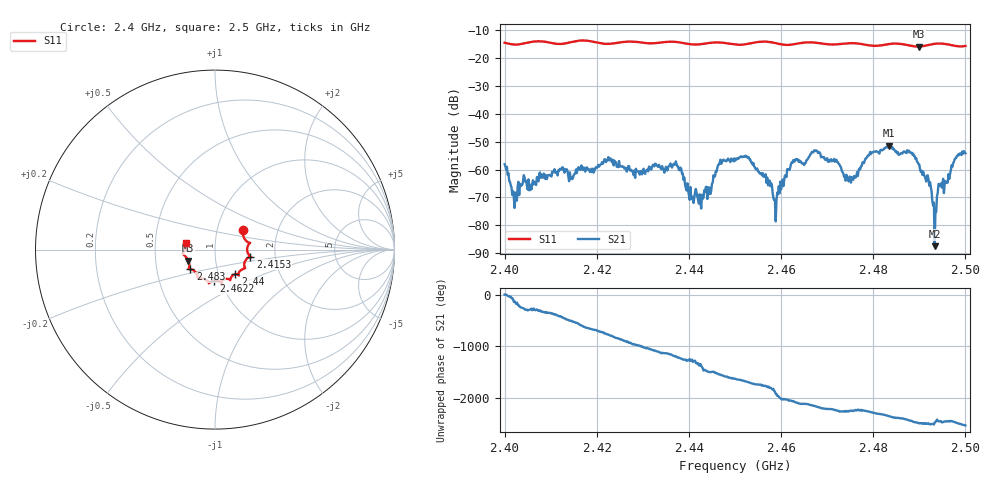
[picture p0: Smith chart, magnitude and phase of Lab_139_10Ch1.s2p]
# Hz S RI R 50
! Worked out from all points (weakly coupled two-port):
!   601 points, 2.4 GHz to 2.5 GHz, reference 50 ohm
!   highest |S21| = -51.44 dB at 2.4833 GHz (marker M1); lowest = -87.5 dB at 2.4933 GHz (marker M2)
!   lowest |S11| = -15.9 dB at 2.4898 GHz (marker M3), VSWR 1.38, Z = 36.8 - j4.62 ohm
!   |S11| at or under -10 dB: start of sweep to end of sweep
!   S12 and S22 are empty: the file has one direction only
!   S11 on the Smith chart (normalised r, x): 2.4 GHz: 1.33, +0.29; 2.4153 GHz: 1.48, -0.12; 2.44 GHz: 1.20, -0.34; 2.4622 GHz: 0.93, -0.33; 2.483 GHz: 0.74, -0.17; 2.5 GHz: 0.72, +0.06
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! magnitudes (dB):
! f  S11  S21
! 2.4 GHz  -14.5  -58.1
! 2.4022 GHz  -15.2  -73.8
! 2.4042 GHz  -14.8  -62.0
! 2.4153 GHz  -14.0  -61.4
! 2.4167 GHz  -13.7  -58.5
! 2.4333 GHz  -14.5  -59.1
! 2.4372 GHz  -14.2  -57.1
! 2.44 GHz  -15.0  -69.1
! 2.4427 GHz  -15.0  -74.0
! 2.4468 GHz  -14.4  -56.5
! 2.45 GHz  -15.1  -56.0
! 2.4528 GHz  -14.9  -55.8
! 2.4588 GHz  -14.7  -78.6
! 2.4622 GHz  -15.2  -57.9
! 2.4667 GHz  -14.4  -53.7
! 2.4752 GHz  -14.7  -64.7
! 2.483 GHz  -15.1  -51.7
! 2.4833 GHz  -15.0  -51.4
! 2.4898 GHz  -15.9  -58.1
! 2.4933 GHz  -14.9  -87.5
! 2.4947 GHz  -14.8  -66.1
! 2.5 GHz  -15.7  -54.1
